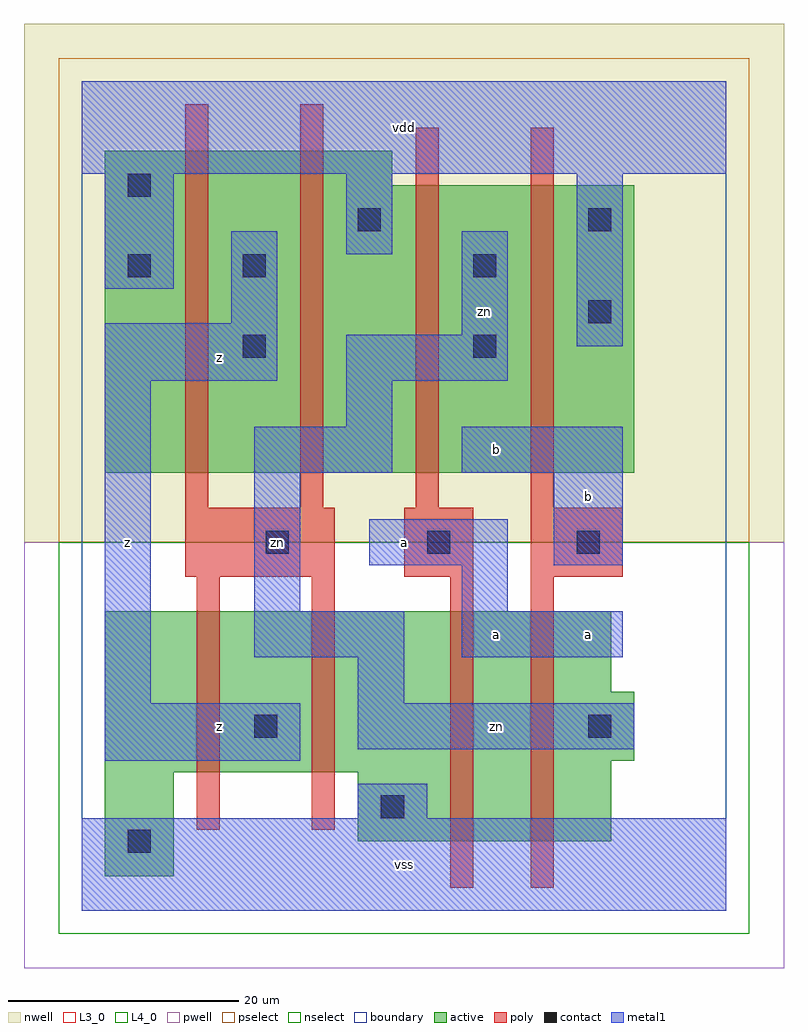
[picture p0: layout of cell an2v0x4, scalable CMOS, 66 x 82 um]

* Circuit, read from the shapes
.subckt an2v0x4 a b vdd vss z zn
M1 z zn vss VSUBS nfet w=14u l=2u m=2
M2 n1 a vss VSUBS nfet w=20u l=2u
M3 zn b n1 VSUBS nfet w=20u l=2u
M4 z zn vdd n2 pfet w=28u l=2u m=2
M5 zn a vdd n2 pfet w=25u l=2u
M6 vdd b zn n2 pfet w=25u l=2u
.ends

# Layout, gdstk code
import gdstk
lib = gdstk.Library(unit=1e-6, precision=1e-09)
def R(c, l, rs):  # rectangles x0, y0, x1, y1
    for r in rs: c.add(gdstk.rectangle(r[:2], r[2:], *l))
L3_0 = (3, 0)
L4_0 = (4, 0)
contact = (25, 0)
pwell = (41, 0)
nwell = (42, 0)
active = (43, 0)
pselect = (44, 0)
nselect = (45, 0)
poly = (46, 0)
metal1 = (49, 0)
boundary = (63, 0)

an2v0x4 = lib.new_cell('an2v0x4')
R(an2v0x4, L3_0, [(2,3,8,12), (24,6,46,12), (2,12,46,13), (2,13,48,19), (2,19,46,26)])
R(an2v0x4, L4_0, [(2,38,48,63), (2,63,27,66)])
R(an2v0x4, contact, [(4,5,6,7), (26,8,28,10), (15,15,17,17), (44,15,46,17), (16,31,18,33), (30,31,32,33), (43,31,45,33), (14,48,16,50), (34,48,36,50), (44,51,46,53), (4,55,6,57), (14,55,16,57), (34,55,36,57), (24,59,26,61), (44,59,46,61), (4,62,6,64)])
R(an2v0x4, pwell, [(-5,-5,61,32)])
R(an2v0x4, nwell, [(-5,32,61,77)])
R(an2v0x4, active, [(2,3,8,12), (24,6,46,12), (2,12,46,13), (2,13,48,19), (2,19,46,26), (2,38,48,63), (2,63,27,66)])
R(an2v0x4, pselect, [(-2,32,58,74)])
R(an2v0x4, nselect, [(-2,-2,58,32)])
R(an2v0x4, poly, [(32,2,34,29), (39,2,41,29), (10,7,12,29), (20,7,22,29), (9,29,22,35), (28,29,34,35), (39,29,47,35), (9,35,11,70), (19,35,21,70), (29,35,31,68), (39,35,41,68)])
R(an2v0x4, metal1, [(0,0,56,8), (24,8,30,11), (2,13,19,18), (24,14,48,18), (2,18,6,46), (24,18,28,22), (15,22,28,26), (33,22,47,26), (15,26,19,38), (33,26,37,30), (25,30,37,34), (41,30,47,38), (15,38,27,42), (33,38,47,42), (23,42,27,46), (2,46,17,51), (23,46,37,50), (43,49,47,64), (33,50,37,59), (13,51,17,59), (2,54,8,64), (23,57,27,64), (0,64,56,72)])
R(an2v0x4, boundary, [(0,0,56,72)])
an2v0x4.add(gdstk.Label('zn', (17,32), layer=49, texttype=0))
an2v0x4.add(gdstk.Label('zn', (36,16), layer=49, texttype=0))
an2v0x4.add(gdstk.Label('zn', (35,52), layer=49, texttype=0))
an2v0x4.add(gdstk.Label('z', (4,32), layer=49, texttype=0))
an2v0x4.add(gdstk.Label('z', (12,16), layer=49, texttype=0))
an2v0x4.add(gdstk.Label('z', (12,48), layer=49, texttype=0))
an2v0x4.add(gdstk.Label('vss', (28,4), layer=49, texttype=0))
an2v0x4.add(gdstk.Label('a', (28,32), layer=49, texttype=0))
an2v0x4.add(gdstk.Label('a', (36,24), layer=49, texttype=0))
an2v0x4.add(gdstk.Label('b', (36,40), layer=49, texttype=0))
an2v0x4.add(gdstk.Label('vdd', (28,68), layer=49, texttype=0))
an2v0x4.add(gdstk.Label('a', (44,24), layer=49, texttype=0))
an2v0x4.add(gdstk.Label('b', (44,36), layer=49, texttype=0))

lib.write_gds('an2v0x4.gds')
